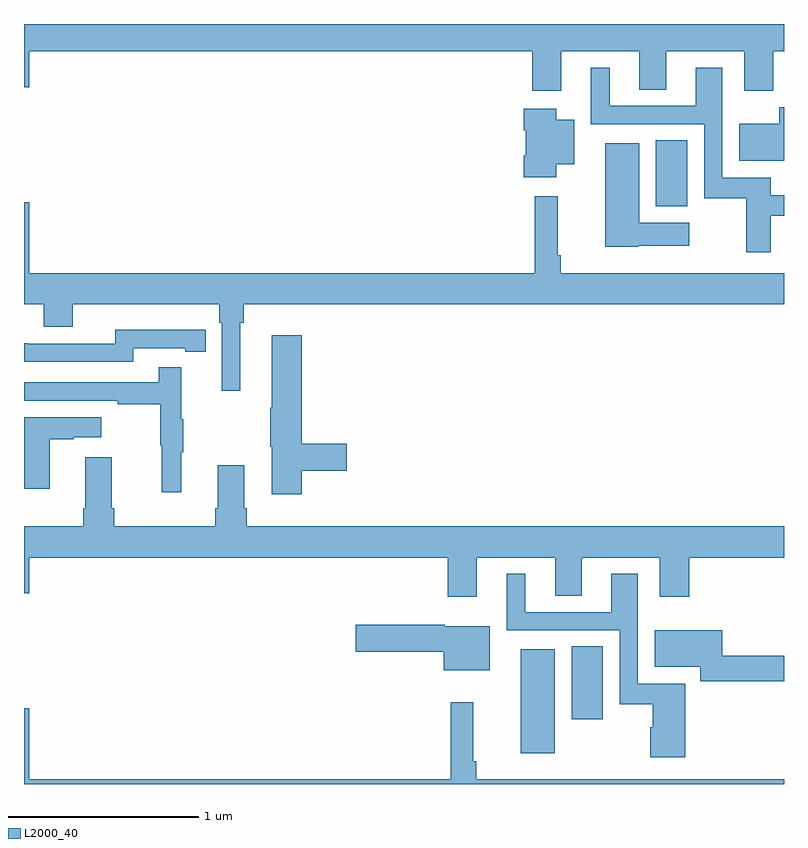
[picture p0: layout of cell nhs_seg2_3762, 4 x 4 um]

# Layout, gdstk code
import gdstk
lib = gdstk.Library(unit=1e-6, precision=1e-09)
def R(c, l, rs):  # rectangles x0, y0, x1, y1
    for r in rs: c.add(gdstk.rectangle(r[:2], r[2:], *l))
def P(c, l, *ps):  # polygons
    for p in ps: c.add(gdstk.Polygon(p, *l))
L2000_40 = (2000, 40)

nhs_seg2_3762 = lib.new_cell('nhs_seg2_3762')
R(nhs_seg2_3762, L2000_40, [(311.615,623.963,311.794,624.508), (311.882,624.14,312.046,624.524), (312.326,626.84,312.49,627.188)])
P(nhs_seg2_3762, L2000_40, [(311.827,627.656),(312.239,627.656),(312.239,627.454),(312.379,627.454),(312.379,627.656),(312.791,627.656),(312.791,627.45),(312.944,627.45),(312.944,627.656),(313,627.656),(313,627.8),(309,627.8),(309,627.468),(309.028,627.468),(309.028,627.656),(311.675,627.656),(311.675,627.45),(311.827,627.45)],
  [(312.929,626.79),(313,626.79),(313,626.9),(312.929,626.9),(312.929,626.991),(312.675,626.991),(312.675,627.571),(312.536,627.571),(312.536,627.369),(312.082,627.369),(312.082,627.571),(311.984,627.571),(311.984,627.273),(312.579,627.273),(312.579,626.883),(312.801,626.883),(312.801,626.598),(312.929,626.598)],
  [(313,627.363),(312.974,627.363),(312.974,627.274),(312.764,627.274),(312.764,627.08),(313,627.08)],
  [(311.8,627.062),(311.896,627.062),(311.896,627.295),(311.8,627.295),(311.8,627.355),(311.63,627.355),(311.63,627.242),(311.642,627.242),(311.642,627.106),(311.63,627.106),(311.63,626.994),(311.8,626.994)],
  [(312.234,626.633),(312.502,626.633),(312.502,626.755),(312.238,626.755),(312.238,627.172),(312.059,627.172),(312.059,626.627),(312.234,626.627)],
  [(310.138,626.228),(310.157,626.228),(310.157,626.324),(313,626.324),(313,626.488),(311.825,626.488),(311.825,626.584),(311.808,626.584),(311.808,626.893),(311.689,626.893),(311.689,626.488),(309.028,626.488),(309.028,626.863),(309,626.863),(309,626.324),(309.104,626.324),(309.104,626.207),(309.256,626.207),(309.256,626.324),(310.028,626.324),(310.028,626.228),(310.041,626.228),(310.041,625.869),(310.138,625.869)],
  [(309.576,626.094),(309.848,626.094),(309.848,626.074),(309.956,626.074),(309.956,626.19),(309.848,626.19),(309.848,626.191),(309.48,626.191),(309.48,626.118),(309.02,626.118),(309.02,626.12),(309,626.12),(309,626.022),(309.576,626.022)],
  [(310.463,625.45),(310.699,625.45),(310.699,625.592),(310.463,625.592),(310.463,626.161),(310.304,626.161),(310.304,625.781),(310.297,625.781),(310.297,625.575),(310.304,625.575),(310.304,625.326),(310.463,625.326)],
  [(309.827,625.547),(309.838,625.547),(309.838,625.721),(309.827,625.721),(309.827,625.993),(309.709,625.993),(309.709,625.914),(309,625.914),(309,625.818),(309.493,625.818),(309.493,625.798),(309.717,625.798),(309.717,625.584),(309.724,625.584),(309.724,625.335),(309.827,625.335)],
  [(309.136,625.615),(309.263,625.615),(309.263,625.625),(309.406,625.625),(309.406,625.729),(309,625.729),(309,625.353),(309.136,625.353)],
  [(311.383,624.992),(311.795,624.992),(311.795,624.79),(311.935,624.79),(311.935,624.992),(312.347,624.992),(312.347,624.786),(312.5,624.786),(312.5,624.992),(313,624.992),(313,625.156),(310.172,625.156),(310.172,625.252),(310.159,625.252),(310.159,625.477),(310.019,625.477),(310.019,625.252),(310.007,625.252),(310.007,625.156),(309.476,625.156),(309.476,625.252),(309.463,625.252),(309.463,625.519),(309.323,625.519),(309.323,625.252),(309.311,625.252),(309.311,625.156),(309,625.156),(309,624.804),(309.028,624.804),(309.028,624.992),(311.231,624.992),(311.231,624.786),(311.383,624.786)],
  [(312.479,624.327),(312.231,624.327),(312.231,624.907),(312.092,624.907),(312.092,624.705),(311.638,624.705),(311.638,624.907),(311.54,624.907),(311.54,624.609),(312.135,624.609),(312.135,624.219),(312.308,624.219),(312.308,624.099),(312.296,624.099),(312.296,623.942),(312.479,623.942)],
  [(311.452,624.631),(311.214,624.631),(311.214,624.639),(310.746,624.639),(310.746,624.497),(311.21,624.497),(311.21,624.398),(311.452,624.398)],
  [(313,624.476),(312.676,624.476),(312.676,624.61),(312.32,624.61),(312.32,624.416),(312.56,624.416),(312.56,624.34),(313,624.34)],
  [(313,623.824),(311.381,623.824),(311.381,623.92),(311.364,623.92),(311.364,624.229),(311.245,624.229),(311.245,623.824),(309.028,623.824),(309.028,624.199),(309,624.199),(309,623.8),(313,623.8)])

lib.write_gds('nhs_seg2_3762.gds')
